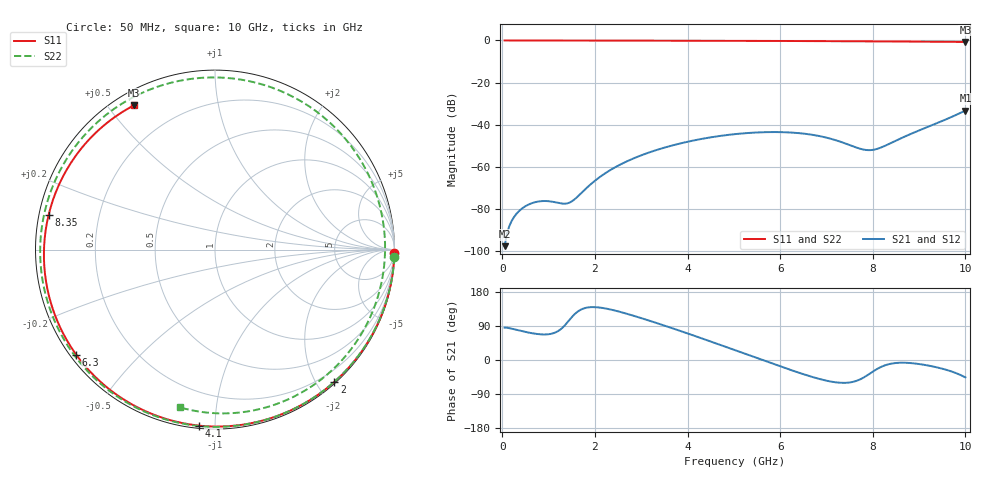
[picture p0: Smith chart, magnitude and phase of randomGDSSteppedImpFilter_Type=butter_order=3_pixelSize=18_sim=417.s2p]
! freq	dB(S11)	phase(S11)	dB(S12)	phase(S12)
!  dB(S21)	phase(S21)	dB(S22)	phase(S22)
!S-par simulation data
#  GHz  S  DB  R 50
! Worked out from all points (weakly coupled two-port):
!   200 points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, 50 MHz to 10 GHz, reference 50 ohm
!   highest |S21| = -33.22 dB at 10 GHz (marker M1); lowest = -97.5 dB at 50 MHz (marker M2)
!   lowest |S11| = -0.7 dB at 10 GHz (marker M3), VSWR 24.53, Z = 2.74 + j29.3 ohm
!   |S11| at or under -10 dB: nowhere
!   |S22| runs from -0.9 to 0.0 dB; largest |S21 - S12| = 0
!   S11 on the Smith chart (normalised r, x): 50 MHz: 1, -92; 2 GHz: 0.02, -2.25; 4.1 GHz: 0.01, -0.91; 6.3 GHz: 0.02, -0.34; 8.35 GHz: 0.03, +0.10; 10 GHz: 0.05, +0.59
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0.05  -0.00 -1.2  -97.50 85.5  -97.50 85.5  -0.00 -2.3
0.4  -0.01 -9.8  -80.11 76.9  -80.11 76.9  -0.03 -18.5
0.85  -0.02 -20.7  -76.15 67.6  -76.15 67.6  -0.06 -39.0
1.4  -0.04 -33.9  -77.23 98.4  -77.23 98.4  -0.08 -63.3
1.75  -0.05 -42.1  -71.39 135.7  -71.39 135.7  -0.10 -78.5
2  -0.06 -48.0  -66.50 139.5  -66.50 139.5  -0.11 -89.1
2.65  -0.08 -63.0  -57.71 123.4  -57.71 123.4  -0.14 -116.1
3.4  -0.11 -79.8  -51.45 94.9  -51.45 94.9  -0.18 -146.8
4.1  -0.13 -95.2  -47.55 65.9  -47.55 65.9  -0.22 -175.9
4.6  -0.16 -106.1  -45.58 44.5  -45.58 44.5  -0.26 162.4
5.05  -0.18 -115.8  -44.34 24.8  -44.34 24.8  -0.29 141.9
5.7  -0.22 -129.8  -43.46 -3.6  -43.46 -3.6  -0.33 110.2
6.3  -0.27 -142.9  -43.74 -29.2  -43.74 -29.2  -0.37 78.6
6.7  -0.30 -151.9  -44.73 -44.9  -44.73 -44.9  -0.40 56.8
7.1  -0.34 -161.0  -46.63 -57.0  -46.63 -57.0  -0.42 34.7
7.5  -0.38 -170.5  -49.58 -59.3  -49.58 -59.3  -0.45 12.7
7.95  -0.43 178.5  -51.98 -34.9  -51.98 -34.9  -0.48 -11.1
8.35  -0.47 168.2  -49.07 -10.9  -49.07 -10.9  -0.53 -31.3
8.75  -0.52 157.3  -44.98 -7.5  -44.98 -7.5  -0.59 -50.4
9.15  -0.58 145.9  -41.30 -13.5  -41.30 -13.5  -0.67 -68.2
9.55  -0.64 133.7  -37.70 -24.6  -37.70 -24.6  -0.77 -84.9
10  -0.71 119.2  -33.22 -45.9  -33.22 -45.9  -0.91 -102.5
